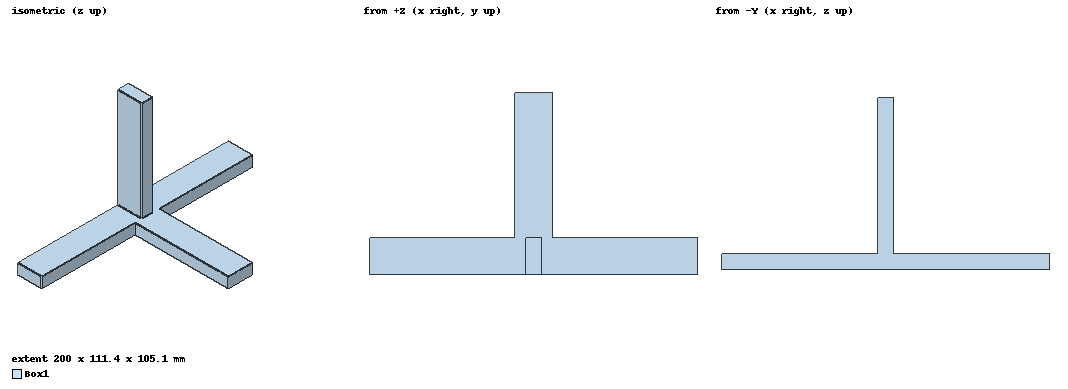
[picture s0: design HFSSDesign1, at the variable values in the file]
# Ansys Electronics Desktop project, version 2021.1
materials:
  vacuum: permittivity=1

design HFSSDesign1 (HFSS, DrivenModal, model units mm)
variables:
  len_x = 10mm
  len_y = 10mm
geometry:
  Box1 [vacuum] = box(corner=((-22.86/2) mm, 0mm, (-10.16/2) mm), size=(22.86mm, 100mm, 10.16mm))
  Box1_1 = Box1.duplicate_around_axis(axis=Z, angle=90deg, total=2)
  Box1_2 = Box1.duplicate_around_axis(axis=Z, angle=-90deg, total=2)
  Box1_2_1 = Box1_2.duplicate_around_axis(axis=Y, angle=-90deg, total=2)
  Box1.unite(Box1_1, Box1_2, Box1_2_1)
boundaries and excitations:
  PerfE1: Perfect E Faces=Box1.face(+z, -z, -x, +x, 4 of 6, 6 of 6, 4 of 6, 1 of 6, 2 of 6, 4 of 6)
  1: Wave Port Faces=Box1.face(5 of 6) NumModes=1 Modes{Mode1{IntLine{middle of Box1.edge(8 of 12) -> middle of Box1.edge(2 of 12)} CharImp=Zpi}}
  2: Wave Port Faces=Box1.face(+y) NumModes=1 Modes{Mode1{IntLine{Box1.face(+y) -> middle of Box1.edge(2 of 12)} CharImp=Zpi}}
  3: Wave Port Faces=Box1.face(5 of 6) NumModes=1 Modes{Mode1{IntLine{Box1.face(5 of 6) -> middle of Box1.edge(2 of 12)} CharImp=Zpi}}
  4: Wave Port Faces=Box1.face(5 of 6) NumModes=1 Modes{Mode1{IntLine{middle of Box1.edge(8 of 12) -> middle of Box1.edge(2 of 12)} CharImp=Zpi}}
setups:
  Setup1: HfssDriven Frequency=10GHz MaxDeltaS=0.02 MaximumPasses=6 MinimumPasses=1 MinimumConvergedPasses=1 PercentRefinement=30 BasisOrder=-1 PortAccuracy=2 IterativeResidual=1e-06 DDMSolverResidual=0.0001
    sweep Sweep: 6GHz to 15GHz step 0.1GHz; Type=Interpolating SaveFields InterpTolerance=0.5 InterpMaxSolns=250 InterpUsePortImped=false PassivityErrorTolerance=0.0001
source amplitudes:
  1:1: 1W 0deg
  2:1, 3:1, 4:1: 0W 0deg
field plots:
  Vector_E1, Mag_E1: E Field over Box1.face(+z) on Setup1 : LastAdaptive at Freq=10GHz Phase=0deg
  Vector_E2: E Field over Box1.face(2 of 6) on Setup1 : LastAdaptive at Freq=10GHz Phase=0deg
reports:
  S Parameter Plot 1: dB(S(1,1)), dB(S(2,1)), dB(S(1,2)), dB(S(2,2)) vs Freq on Setup1 : Sweep
